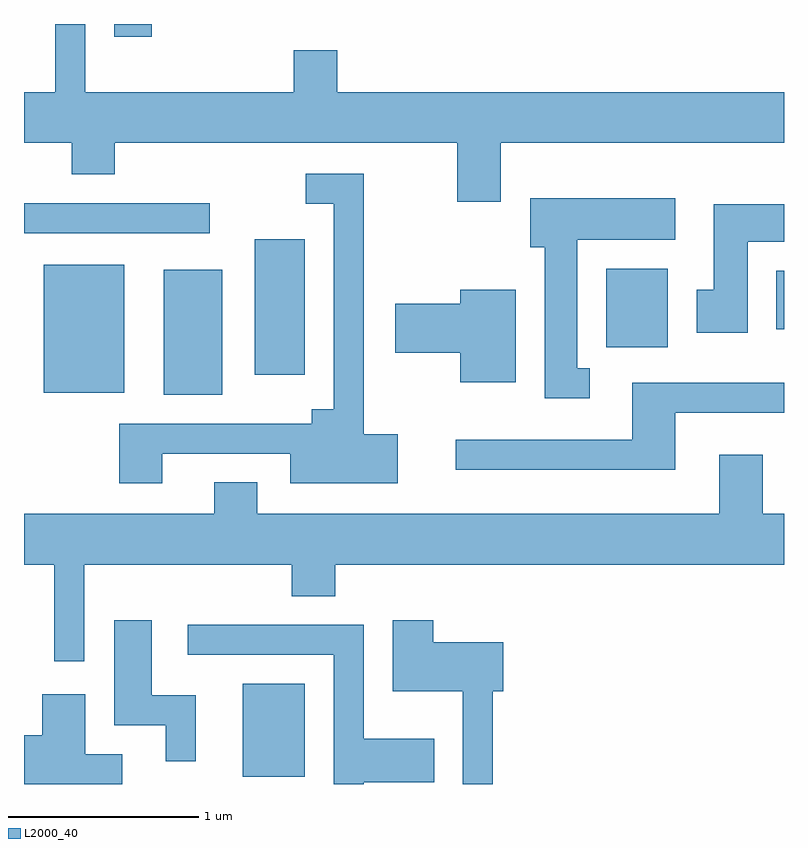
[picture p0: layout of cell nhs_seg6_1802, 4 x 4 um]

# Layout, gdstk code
import gdstk
lib = gdstk.Library(unit=1e-6, precision=1e-09)
def R(c, l, rs):  # rectangles x0, y0, x1, y1
    for r in rs: c.add(gdstk.rectangle(r[:2], r[2:], *l))
def P(c, l, *ps):  # polygons
    for p in ps: c.add(gdstk.Polygon(p, *l))
L2000_40 = (2000, 40)

nhs_seg6_1802 = lib.new_cell('nhs_seg6_1802')
R(nhs_seg6_1802, L2000_40, [(240.761,1602.201,241.089,1602.689), (240.346,1604.211,240.654,1604.869), (239.716,1604.221,240.139,1604.894), (240.826,1604.316,241.089,1605.029), (242.676,1604.461,242.999,1604.874), (243.571,1604.556,243.611,1604.864), (239.611,1605.061,240.588,1605.219), (240.086,1606.096,240.284,1606.162)])
P(nhs_seg6_1802, L2000_40, [(241.259,1606.024),(241.031,1606.024),(241.031,1605.804),(239.934,1605.804),(239.934,1606.162),(239.776,1606.162),(239.776,1605.804),(239.611,1605.804),(239.611,1605.536),(239.861,1605.536),(239.861,1605.371),(240.089,1605.371),(240.089,1605.536),(241.891,1605.536),(241.891,1605.226),(242.119,1605.226),(242.119,1605.536),(243.611,1605.536),(243.611,1605.804),(241.259,1605.804)],
  [(240.339,1603.901),(241.011,1603.901),(241.011,1603.746),(241.579,1603.746),(241.579,1604.004),(241.399,1604.004),(241.399,1605.374),(241.093,1605.374),(241.093,1605.216),(241.241,1605.216),(241.241,1604.134),(241.126,1604.134),(241.126,1604.059),(240.111,1604.059),(240.111,1603.746),(240.339,1603.746)],
  [(242.588,1604.349),(242.524,1604.349),(242.524,1605.026),(243.039,1605.026),(243.039,1605.244),(242.276,1605.244),(242.276,1604.986),(242.351,1604.986),(242.351,1604.191),(242.588,1604.191)],
  [(243.419,1605.016),(243.611,1605.016),(243.611,1605.214),(243.241,1605.214),(243.241,1604.764),(243.151,1604.764),(243.151,1604.536),(243.419,1604.536)],
  [(242.199,1604.764),(241.906,1604.764),(241.906,1604.689),(241.566,1604.689),(241.566,1604.431),(241.906,1604.431),(241.906,1604.276),(242.199,1604.276)],
  [(243.039,1604.116),(243.611,1604.116),(243.611,1604.274),(242.811,1604.274),(242.811,1603.974),(241.883,1603.974),(241.883,1603.816),(243.039,1603.816)],
  [(239.929,1603.316),(241.021,1603.316),(241.021,1603.151),(241.249,1603.151),(241.249,1603.316),(243.611,1603.316),(243.611,1603.584),(243.499,1603.584),(243.499,1603.894),(243.271,1603.894),(243.271,1603.584),(240.839,1603.584),(240.839,1603.749),(240.611,1603.749),(240.611,1603.584),(239.611,1603.584),(239.611,1603.316),(239.771,1603.316),(239.771,1602.808),(239.929,1602.808)],
  [(240.514,1602.629),(240.284,1602.629),(240.284,1603.024),(240.086,1603.024),(240.086,1602.471),(240.356,1602.471),(240.356,1602.283),(240.514,1602.283)],
  [(242.079,1602.651),(242.134,1602.651),(242.134,1602.909),(241.764,1602.909),(241.764,1603.024),(241.551,1603.024),(241.551,1602.651),(241.921,1602.651),(241.921,1602.162),(242.079,1602.162)],
  [(241.399,1602.171),(241.769,1602.171),(241.769,1602.399),(241.399,1602.399),(241.399,1602.999),(240.473,1602.999),(240.473,1602.841),(241.241,1602.841),(241.241,1602.162),(241.399,1602.162)],
  [(240.129,1602.319),(239.934,1602.319),(239.934,1602.634),(239.706,1602.634),(239.706,1602.419),(239.611,1602.419),(239.611,1602.162),(240.129,1602.162)])

lib.write_gds('nhs_seg6_1802.gds')
